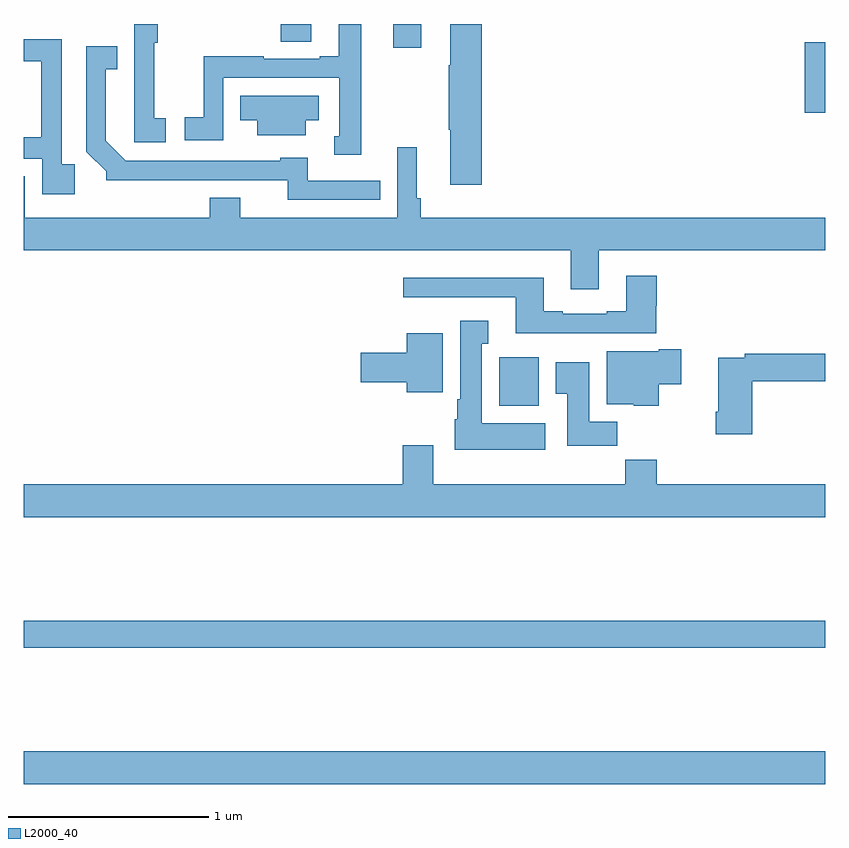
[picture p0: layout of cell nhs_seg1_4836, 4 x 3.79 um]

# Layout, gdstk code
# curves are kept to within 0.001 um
import gdstk
lib = gdstk.Library(unit=1e-6, precision=1e-09)
def R(c, l, rs):  # rectangles x0, y0, x1, y1
    for r in rs: c.add(gdstk.rectangle(r[:2], r[2:], *l))
def P(c, l, *ps):  # polygons
    for p in ps: c.add(gdstk.Polygon(p, *l))
L2000_40 = (2000, 40)

nhs_seg1_4836 = lib.new_cell('nhs_seg1_4836')
R(nhs_seg1_4836, L2000_40, [(373,546.404,377,546.568), (373,547.084,377,547.22), (375.374,548.294,375.571,548.536), (376.898,549.755,377,550.108), (374.843,550.08,374.983,550.199), (374.282,550.111,374.434,550.199)])
P(nhs_seg1_4836, L2000_40, [(373.708,549.729),(373.65,549.729),(373.65,550.105),(373.667,550.105),(373.667,550.199),(373.551,550.199),(373.551,549.884),(373.55,549.884),(373.55,549.609),(373.708,549.609)],
  [(374.683,550.199),(374.573,550.199),(374.573,550.039),(374.477,550.039),(374.477,550.026),(374.198,550.026),(374.198,550.039),(373.897,550.039),(373.897,549.734),(373.803,549.734),(373.803,549.618),(373.995,549.618),(373.995,549.93),(374.574,549.93),(374.574,549.639),(374.549,549.639),(374.549,549.545),(374.683,549.545)],
  [(375.287,550.199),(375.128,550.199),(375.128,549.992),(375.121,549.992),(375.121,549.67),(375.128,549.67),(375.128,549.396),(375.287,549.396)],
  [(373.253,549.499),(373.188,549.499),(373.188,550.122),(373,550.122),(373,550.014),(373.087,550.014),(373.087,549.634),(373,549.634),(373,549.525),(373.092,549.525),(373.092,549.348),(373.253,549.348)],
  [(374.78,549.417),(374.416,549.417),(374.416,549.532),(374.28,549.532),(374.28,549.516),(373.509,549.516),(373.408,549.617),(373.408,549.974),(373.466,549.974),(373.466,550.087),(373.311,550.087),(373.311,549.562),(373.41,549.463),(373.41,549.419),(374.317,549.42),(374.317,549.321),(374.78,549.321)],
  [(374.407,549.719),(374.473,549.719),(374.473,549.841),(374.08,549.841),(374.08,549.719),(374.165,549.719),(374.165,549.644),(374.407,549.644)],
  [(375.871,549.068),(377,549.068),(377,549.232),(374.981,549.232),(374.981,549.328),(374.962,549.328),(374.962,549.583),(374.865,549.583),(374.865,549.232),(374.08,549.232),(374.08,549.331),(373.928,549.331),(373.928,549.232),(373.003,549.232),(373.003,549.44),(373,549.44),(373,549.068),(375.731,549.068),(375.731,548.874),(375.871,548.874)],
  [(376.043,548.656),(376.157,548.656),(376.157,548.793),(376.16,548.793),(376.16,548.941),(376.007,548.941),(376.007,548.764),(375.911,548.764),(375.911,548.751),(375.691,548.751),(375.691,548.764),(375.595,548.764),(375.595,548.932),(374.895,548.932),(374.895,548.835),(375.455,548.835),(375.455,548.654),(376.043,548.654)],
  [(375.604,548.206),(375.286,548.206),(375.286,548.603),(375.319,548.603),(375.319,548.716),(375.179,548.716),(375.179,548.326),(375.164,548.326),(375.164,548.226),(375.152,548.226),(375.152,548.072),(375.604,548.072)],
  [(375.091,548.656),(374.912,548.656),(374.912,548.558),(374.682,548.558),(374.682,548.411),(374.912,548.411),(374.912,548.36),(375.091,548.36)],
  [(376.17,548.401),(376.282,548.401),(376.282,548.576),(376.169,548.576),(376.169,548.566),(375.911,548.566),(375.911,548.3),(376.044,548.3),(376.044,548.294),(376.17,548.294)],
  [(376.637,548.416),(377,548.416),(377,548.552),(376.6,548.552),(376.6,548.532),(376.466,548.532),(376.466,548.263),(376.454,548.263),(376.454,548.151),(376.637,548.151)],
  [(375.962,548.212),(375.823,548.212),(375.823,548.509),(375.656,548.509),(375.656,548.353),(375.713,548.353),(375.713,548.094),(375.962,548.094)],
  [(377,547.9),(376.16,547.9),(376.16,548.024),(376.003,548.024),(376.003,547.9),(375.043,547.9),(375.043,548.095),(374.891,548.095),(374.891,547.9),(373,547.9),(373,547.736),(377,547.736)])

lib.write_gds('nhs_seg1_4836.gds')
